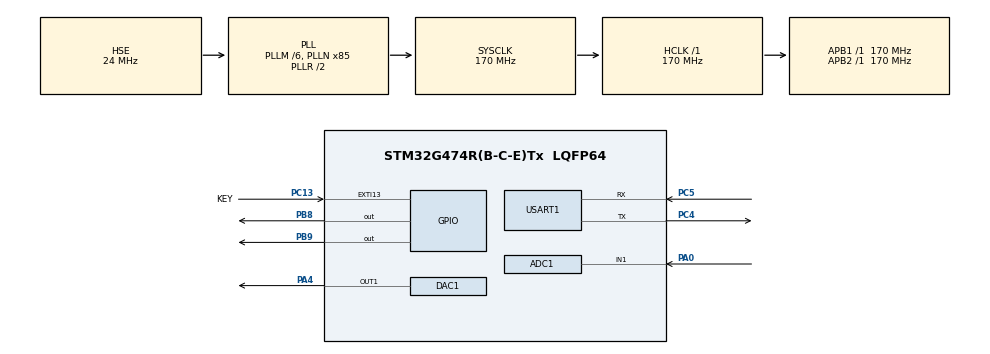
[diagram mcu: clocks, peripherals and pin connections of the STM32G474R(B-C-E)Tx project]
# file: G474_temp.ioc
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ADC1.Channel-0\#ChannelRegularConversion=ADC_CHANNEL_1
ADC1.ContinuousConvMode=DISABLE
ADC1.DMAContinuousRequests=ENABLE
ADC1.ExternalTrigConv=ADC_EXTERNALTRIG_T3_TRGO
ADC1.NbrOfConversionFlag=1
ADC1.OffsetNumber-0\#ChannelRegularConversion=ADC_OFFSET_NONE
ADC1.Overrun=ADC_OVR_DATA_PRESERVED
ADC1.Rank-0\#ChannelRegularConversion=1
ADC1.SamplingTime-0\#ChannelRegularConversion=ADC_SAMPLETIME_2CYCLES_5
ADC1.master=1
DAC1.DAC_Trigger_OUT1-DAC_OUT1=DAC_TRIGGER_T6_TRGO
Dma.ADC1.0.Direction=DMA_PERIPH_TO_MEMORY
Dma.ADC1.0.EventEnable=DISABLE
Dma.ADC1.0.Instance=DMA1_Channel1
Dma.ADC1.0.MemDataAlignment=DMA_MDATAALIGN_HALFWORD
Dma.ADC1.0.MemInc=DMA_MINC_ENABLE
Dma.ADC1.0.Mode=DMA_CIRCULAR
Dma.ADC1.0.PeriphDataAlignment=DMA_PDATAALIGN_HALFWORD
Dma.ADC1.0.PeriphInc=DMA_PINC_DISABLE
Dma.ADC1.0.Polarity=HAL_DMAMUX_REQ_GEN_RISING
Dma.ADC1.0.Priority=DMA_PRIORITY_LOW
Dma.ADC1.0.RequestNumber=1
Dma.ADC1.0.SignalID=NONE
Dma.ADC1.0.SyncEnable=DISABLE
Dma.ADC1.0.SyncPolarity=HAL_DMAMUX_SYNC_NO_EVENT
Dma.ADC1.0.SyncRequestNumber=1
Dma.ADC1.0.SyncSignalID=NONE
Dma.DAC1_CH1.1.Direction=DMA_MEMORY_TO_PERIPH
Dma.DAC1_CH1.1.EventEnable=DISABLE
Dma.DAC1_CH1.1.Instance=DMA1_Channel2
Dma.DAC1_CH1.1.MemDataAlignment=DMA_MDATAALIGN_HALFWORD
Dma.DAC1_CH1.1.MemInc=DMA_MINC_ENABLE
Dma.DAC1_CH1.1.Mode=DMA_CIRCULAR
Dma.DAC1_CH1.1.PeriphDataAlignment=DMA_PDATAALIGN_WORD
Dma.DAC1_CH1.1.PeriphInc=DMA_PINC_DISABLE
Dma.DAC1_CH1.1.Polarity=HAL_DMAMUX_REQ_GEN_RISING
Dma.DAC1_CH1.1.Priority=DMA_PRIORITY_LOW
Dma.DAC1_CH1.1.RequestNumber=1
Dma.DAC1_CH1.1.SignalID=NONE
Dma.DAC1_CH1.1.SyncEnable=DISABLE
Dma.DAC1_CH1.1.SyncPolarity=HAL_DMAMUX_SYNC_NO_EVENT
Dma.DAC1_CH1.1.SyncRequestNumber=1
Dma.DAC1_CH1.1.SyncSignalID=NONE
Dma.Request0=ADC1
Dma.Request1=DAC1_CH1
Mcu.Family=STM32G4
Mcu.Name=STM32G474R(B-C-E)Tx
Mcu.Package=LQFP64
NVIC.DMA1_Channel1_IRQn=true\:0\:0\:false\:false\:true\:false\:true\:true
NVIC.DMA1_Channel2_IRQn=true\:0\:0\:false\:false\:true\:false\:true\:true
NVIC.EXTI15_10_IRQn=true\:0\:0\:false\:false\:true\:true\:true\:true
NVIC.PriorityGroup=NVIC_PRIORITYGROUP_4
NVIC.USART1_IRQn=true\:0\:0\:false\:false\:true\:true\:true\:true
PA0.Mode=IN1-Single-Ended
PA0.Signal=ADC1_IN1
PA13.Mode=Serial_Wire
PA13.Signal=SYS_JTMS-SWDIO
PA14.Mode=Serial_Wire
PA14.Signal=SYS_JTCK-SWCLK
PA4.Signal=COMP_DAC11_group
PB8-BOOT0.GPIO_FM8=__NULL
PB8-BOOT0.GPIO_ModeDefaultOutputPP=GPIO_MODE_OUTPUT_OD
PB8-BOOT0.GPIO_PuPd=GPIO_PULLUP
PB8-BOOT0.GPIO_Speed=GPIO_SPEED_FREQ_VERY_HIGH
PB8-BOOT0.Signal=GPIO_Output
PB9.GPIO_ModeDefaultOutputPP=GPIO_MODE_OUTPUT_OD
PB9.GPIO_PuPd=GPIO_PULLUP
PB9.GPIO_Speed=GPIO_SPEED_FREQ_VERY_HIGH
PB9.Signal=GPIO_Output
PC13.GPIO_Label=KEY
PC13.Signal=GPXTI13
PC14-OSC32_IN.Mode=LSE-External-Oscillator
PC14-OSC32_IN.Signal=RCC_OSC32_IN
PC15-OSC32_OUT.Mode=LSE-External-Oscillator
PC15-OSC32_OUT.Signal=RCC_OSC32_OUT
PC4.Mode=Asynchronous
PC4.Signal=USART1_TX
PC5.Mode=Asynchronous
PC5.Signal=USART1_RX
PF0-OSC_IN.Mode=HSE-External-Oscillator
PF0-OSC_IN.Signal=RCC_OSC_IN
PF1-OSC_OUT.Mode=HSE-External-Oscillator
PF1-OSC_OUT.Signal=RCC_OSC_OUT
ProjectManager.HeapSize=0x200
ProjectManager.StackSize=0x400
ProjectManager.TargetToolchain=MDK-ARM V5.32
RCC.ADC12Freq_Value=170000000
RCC.ADC345Freq_Value=170000000
RCC.AHBFreq_Value=170000000
RCC.APB1Freq_Value=170000000
RCC.APB1TimFreq_Value=170000000
RCC.APB2Freq_Value=170000000
RCC.APB2TimFreq_Value=170000000
RCC.CortexFreq_Value=170000000
RCC.EXTERNAL_CLOCK_VALUE=12288000
RCC.HCLKFreq_Value=170000000
RCC.HSE_VALUE=24000000
RCC.HSI48_VALUE=48000000
RCC.HSI_VALUE=16000000
RCC.PLLM=RCC_PLLM_DIV6
RCC.PLLN=85
RCC.PLLSourceVirtual=RCC_PLLSOURCE_HSE
RCC.RTCClockSelection=RCC_RTCCLKSOURCE_LSE
RCC.SYSCLKFreq_VALUE=170000000
RCC.SYSCLKSource=RCC_SYSCLKSOURCE_PLLCLK
RCC.USBFreq_Value=170000000
RCC.VCOOutputFreq_Value=340000000
SH.COMP_DAC11_group.0=DAC1_OUT1,DAC_OUT1
TIM3.PeriodNoDither=10-1
TIM3.Prescaler=17-1
TIM3.TIM_MasterOutputTrigger=TIM_TRGO_UPDATE
TIM6.AutoReloadPreload=TIM_AUTORELOAD_PRELOAD_ENABLE
TIM6.PeriodNoDither=10-1
TIM6.Prescaler=17-1
TIM6.TIM_MasterOutputTrigger=TIM_TRGO_UPDATE
USART1.VirtualMode-Asynchronous=VM_ASYNC
VP_SYS_VS_DBSignals.Mode=DisableDeadBatterySignals
VP_TIM3_VS_ClockSourceINT.Mode=Internal
VP_TIM6_VS_ClockSourceINT.Mode=Enable_Timer
board=NUCLEO-G474RE

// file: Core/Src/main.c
/* USER CODE BEGIN Header */
/**
  ******************************************************************************
  * @file           : main.c
  * @brief          : Main program body
  ******************************************************************************
  * @attention
  *
  * Copyright (c) 2023 STMicroelectronics.
  * All rights reserved.
  *
  * This software is licensed under terms that can be found in the LICENSE file
  * in the root directory of this software component.
  * If no LICENSE file comes with this software, it is provided AS-IS.
  *
  ******************************************************************************
  */
/* USER CODE END Header */
#include "main.h"
#include "adc.h"
#include "dac.h"
#include "dma.h"
#include "tim.h"
#include "usart.h"
#include "gpio.h"

/* USER CODE BEGIN Includes */
#include "delay.h"
#include "myusart1.h"
#include "OLED_I2C.h"
/* USER CODE END Includes */

/* USER CODE BEGIN PV */
#define sampledot 1000
#define adccnt 40000
/* USER CODE END PV */

void SystemClock_Config(void);
/* USER CODE BEGIN PFP */
uint32_t cnt=0;
uint8_t start_flag=0;
uint8_t adc_flag=0;
uint8_t adc_flag1=0;
uint8_t adc_flag2=0;
uint16_t adc_value1[sampledot]={0};
uint16_t adc_value2[sampledot]={0};
uint32_t dac_value[sampledot]={0};
uint16_t dac_value_final[sampledot]={0};
uint16_t i=0;
/* USER CODE END PFP */

int main(void)
{

  /* MCU Configuration--------------------------------------------------------*/

  /* Reset of all peripherals, Initializes the Flash interface and the Systick. */
  HAL_Init();

  /* Configure the system clock */
  SystemClock_Config();

  /* Initialize all configured peripherals */
  MX_GPIO_Init();
  MX_DMA_Init();
  MX_USART1_UART_Init();
  MX_ADC1_Init();
  MX_DAC1_Init();
  MX_TIM6_Init();
  MX_TIM3_Init();
  /* USER CODE BEGIN 2 */
  delay_init(170);
  MyUSART1_Init(&huart1);
  OLED_Init();
  OLED_CLS();
  HAL_TIM_Base_Start(&htim3);
  HAL_ADC_Start_DMA(&hadc1,(uint32_t*)adc_value2,sampledot);
	//HAL_TIM_Base_Start(&htim6);
   //HAL_DAC_Start_DMA(&hdac1,DAC_CHANNEL_1,(uint32_t*)dac_value,sampledot,DAC_ALIGN_12B_R);
  /* USER CODE END 2 */

  /* Infinite loop */
  while (1)
  {
    /* USER CODE BEGIN 3 */
		if (!adc_flag && !start_flag)
		{
			if (cnt%2==0 &&adc_flag1)
			{
				for(i = 0;i<sampledot;i++)
				{
					dac_value[i]+=adc_value1[i];
				}
				adc_flag1=0;
			}
			else if (cnt%2==1 && adc_flag2)
			{
				for(i = 0;i<sampledot;i++)
				{
					dac_value[i]+=adc_value2[i];
				}
				adc_flag2=0;
			}
		}
		else if(start_flag==0 && adc_flag)
		{
			adc_flag=0;
			start_flag=1;
			for(i = 0; i<sampledot;i++)
			{
				dac_value_final[i]=(uint16_t)(dac_value[i]/adccnt);
				printf("%d\r\n",dac_value_final[i]);
			}
		}
	}
  /* USER CODE END 3 */
}

void SystemClock_Config(void)
{
  RCC_OscInitTypeDef RCC_OscInitStruct = {0};
  RCC_ClkInitTypeDef RCC_ClkInitStruct = {0};

  /** Configure the main internal regulator output voltage
  */
  HAL_PWREx_ControlVoltageScaling(PWR_REGULATOR_VOLTAGE_SCALE1_BOOST);

  /** Initializes the RCC Oscillators according to the specified parameters
  * in the RCC_OscInitTypeDef structure.
  */
  RCC_OscInitStruct.OscillatorType = RCC_OSCILLATORTYPE_HSE;
  RCC_OscInitStruct.HSEState = RCC_HSE_ON;
  RCC_OscInitStruct.PLL.PLLState = RCC_PLL_ON;
  RCC_OscInitStruct.PLL.PLLSource = RCC_PLLSOURCE_HSE;
  RCC_OscInitStruct.PLL.PLLM = RCC_PLLM_DIV6;
  RCC_OscInitStruct.PLL.PLLN = 85;
  RCC_OscInitStruct.PLL.PLLP = RCC_PLLP_DIV2;
  RCC_OscInitStruct.PLL.PLLQ = RCC_PLLQ_DIV2;
  RCC_OscInitStruct.PLL.PLLR = RCC_PLLR_DIV2;
  if (HAL_RCC_OscConfig(&RCC_OscInitStruct) != HAL_OK)
  {
    Error_Handler();
  }

  /** Initializes the CPU, AHB and APB buses clocks
  */
  RCC_ClkInitStruct.ClockType = RCC_CLOCKTYPE_HCLK|RCC_CLOCKTYPE_SYSCLK
                              |RCC_CLOCKTYPE_PCLK1|RCC_CLOCKTYPE_PCLK2;
  RCC_ClkInitStruct.SYSCLKSource = RCC_SYSCLKSOURCE_PLLCLK;
  RCC_ClkInitStruct.AHBCLKDivider = RCC_SYSCLK_DIV1;
  RCC_ClkInitStruct.APB1CLKDivider = RCC_HCLK_DIV1;
  RCC_ClkInitStruct.APB2CLKDivider = RCC_HCLK_DIV1;

  if (HAL_RCC_ClockConfig(&RCC_ClkInitStruct, FLASH_LATENCY_4) != HAL_OK)
  {
    Error_Handler();
  }
}

/* USER CODE BEGIN 4 */
void HAL_GPIO_EXTI_Callback(uint16_t GPIO_PIN)
{
	if(KEY_Pin)
	{
		start_flag=1;
	}
}

void HAL_ADC_ConvCpltCallback(ADC_HandleTypeDef *hadc)
{
	if(hadc == &hadc1)
	{
		cnt+=1;
		if(cnt<=adccnt)
		{
			if (cnt%2==1)
			{
				adc_flag2=1;
				HAL_ADC_Start_DMA(&hadc1,(uint32_t*)adc_value1,sampledot);
			}
			else if(cnt%2==0)
			{
				adc_flag1=1;
				HAL_ADC_Start_DMA(&hadc1,(uint32_t*)adc_value2,sampledot);
			}
		}
		else if(!start_flag && cnt>adccnt)
		{
			adc_flag=1;
			HAL_ADC_Stop_DMA(&hadc1);
			HAL_ADC_Stop_DMA(&hadc1);
		}
	}
}
/* USER CODE END 4 */

void Error_Handler(void)
{
  __disable_irq();
  while (1)
  {
  }
}
